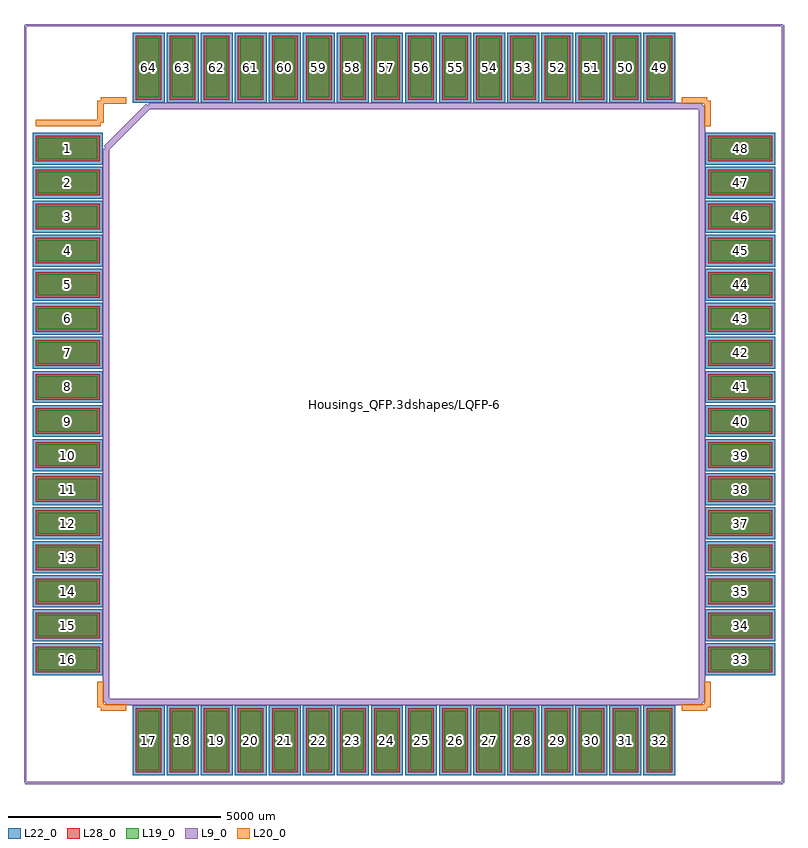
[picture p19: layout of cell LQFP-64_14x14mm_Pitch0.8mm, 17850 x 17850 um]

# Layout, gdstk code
import gdstk
lib = gdstk.Library(unit=1e-6, precision=1e-09)
def R(c, l, rs):  # rectangles x0, y0, x1, y1
    for r in rs: c.add(gdstk.rectangle(r[:2], r[2:], *l))
def A(c, l, x, y, w, h, nx, ny, dx, dy):  # array of equal rectangles
    R(c, l, [(x+i*dx, y+j*dy, x+i*dx+w, y+j*dy+h) for i in range(nx) for j in range(ny)])
L9_0 = (9, 0)
L19_0 = (19, 0)
L20_0 = (20, 0)
L22_0 = (22, 0)
L28_0 = (28, 0)

lqfp_64_14x14mm_pitch0_8 = lib.new_cell('LQFP-64_14x14mm_Pitch0.8mm')
A(lqfp_64_14x14mm_pitch0_8, L19_0, -6250, -8600, 500, 1400, 16, 2, 800, 15800)
A(lqfp_64_14x14mm_pitch0_8, L19_0, -8600, -6250, 1400, 500, 1, 16, 0, 800)
A(lqfp_64_14x14mm_pitch0_8, L19_0, 7200, -6250, 1400, 500, 1, 16, 0, 800)
A(lqfp_64_14x14mm_pitch0_8, L22_0, -6375, -8725, 750, 1650, 16, 2, 800, 15800)
A(lqfp_64_14x14mm_pitch0_8, L22_0, -8725, -6375, 1650, 750, 1, 16, 0, 800)
A(lqfp_64_14x14mm_pitch0_8, L22_0, 7075, -6375, 1650, 750, 1, 16, 0, 800)
A(lqfp_64_14x14mm_pitch0_8, L28_0, -6300, -8650, 600, 1500, 16, 2, 800, 15800)
A(lqfp_64_14x14mm_pitch0_8, L28_0, -8650, -6300, 1500, 600, 1, 16, 0, 800)
A(lqfp_64_14x14mm_pitch0_8, L28_0, 7150, -6300, 1500, 600, 1, 16, 0, 800)
lqfp_64_14x14mm_pitch0_8.add(gdstk.FlexPath([(-7125,6600),(-8650,6600)], 149.998, ends="flush", simple_path=True, layer=20, datatype=0))  # L20_0
lqfp_64_14x14mm_pitch0_8.add(gdstk.FlexPath([(7125,7125),(6525,7125)], 149.998, ends="flush", simple_path=True, layer=20, datatype=0))  # L20_0
lqfp_64_14x14mm_pitch0_8.add(gdstk.FlexPath([(7125,-7125),(6525,-7125)], 149.998, ends="flush", simple_path=True, layer=20, datatype=0))  # L20_0
lqfp_64_14x14mm_pitch0_8.add(gdstk.FlexPath([(-7125,-7125),(-6525,-7125)], 149.998, ends="flush", simple_path=True, layer=20, datatype=0))  # L20_0
lqfp_64_14x14mm_pitch0_8.add(gdstk.FlexPath([(-7125,7125),(-6525,7125)], 149.998, ends="flush", simple_path=True, layer=20, datatype=0))  # L20_0
lqfp_64_14x14mm_pitch0_8.add(gdstk.FlexPath([(-7125,-7125),(-7125,-6525)], 149.998, ends="flush", simple_path=True, layer=20, datatype=0))  # L20_0
lqfp_64_14x14mm_pitch0_8.add(gdstk.FlexPath([(7125,-7125),(7125,-6525)], 149.998, ends="flush", simple_path=True, layer=20, datatype=0))  # L20_0
lqfp_64_14x14mm_pitch0_8.add(gdstk.FlexPath([(7125,7125),(7125,6525)], 149.998, ends="flush", simple_path=True, layer=20, datatype=0))  # L20_0
lqfp_64_14x14mm_pitch0_8.add(gdstk.FlexPath([(-7125,7125),(-7125,6600)], 149.998, ends="flush", simple_path=True, layer=20, datatype=0))  # L20_0
lqfp_64_14x14mm_pitch0_8.add(gdstk.FlexPath([(-8900,-8900),(8900,-8900)], 50, ends="flush", simple_path=True, layer=9, datatype=0))  # L9_0
lqfp_64_14x14mm_pitch0_8.add(gdstk.FlexPath([(-8900,8900),(8900,8900)], 50, ends="flush", simple_path=True, layer=9, datatype=0))  # L9_0
lqfp_64_14x14mm_pitch0_8.add(gdstk.FlexPath([(8900,8900),(8900,-8900)], 50, ends="flush", simple_path=True, layer=9, datatype=0))  # L9_0
lqfp_64_14x14mm_pitch0_8.add(gdstk.FlexPath([(-8900,8900),(-8900,-8900)], 50, ends="flush", simple_path=True, layer=9, datatype=0))  # L9_0
lqfp_64_14x14mm_pitch0_8.add(gdstk.FlexPath([(-7000,6000),(-6000,7000)], 149.998, ends="flush", simple_path=True, layer=9, datatype=0))  # L9_0
lqfp_64_14x14mm_pitch0_8.add(gdstk.FlexPath([(-7000,-7000),(-7000,6000)], 149.998, ends="flush", simple_path=True, layer=9, datatype=0))  # L9_0
lqfp_64_14x14mm_pitch0_8.add(gdstk.FlexPath([(7000,-7000),(-7000,-7000)], 149.998, ends="flush", simple_path=True, layer=9, datatype=0))  # L9_0
lqfp_64_14x14mm_pitch0_8.add(gdstk.FlexPath([(7000,7000),(7000,-7000)], 149.998, ends="flush", simple_path=True, layer=9, datatype=0))  # L9_0
lqfp_64_14x14mm_pitch0_8.add(gdstk.FlexPath([(-6000,7000),(7000,7000)], 149.998, ends="flush", simple_path=True, layer=9, datatype=0))  # L9_0
lqfp_64_14x14mm_pitch0_8.add(gdstk.Label('Housings_QFP.3dshapes/LQFP-64_14x14mm_Pitch0.8mm.wrl', (0,0), layer=12, texttype=0))
lqfp_64_14x14mm_pitch0_8.add(gdstk.Label('64', (-6000,7900), layer=28, texttype=0))
lqfp_64_14x14mm_pitch0_8.add(gdstk.Label('63', (-5200,7900), layer=28, texttype=0))
lqfp_64_14x14mm_pitch0_8.add(gdstk.Label('62', (-4400,7900), layer=28, texttype=0))
lqfp_64_14x14mm_pitch0_8.add(gdstk.Label('61', (-3600,7900), layer=28, texttype=0))
lqfp_64_14x14mm_pitch0_8.add(gdstk.Label('60', (-2800,7900), layer=28, texttype=0))
lqfp_64_14x14mm_pitch0_8.add(gdstk.Label('59', (-2000,7900), layer=28, texttype=0))
lqfp_64_14x14mm_pitch0_8.add(gdstk.Label('58', (-1200,7900), layer=28, texttype=0))
lqfp_64_14x14mm_pitch0_8.add(gdstk.Label('57', (-400,7900), layer=28, texttype=0))
lqfp_64_14x14mm_pitch0_8.add(gdstk.Label('56', (400,7900), layer=28, texttype=0))
lqfp_64_14x14mm_pitch0_8.add(gdstk.Label('55', (1200,7900), layer=28, texttype=0))
lqfp_64_14x14mm_pitch0_8.add(gdstk.Label('54', (2000,7900), layer=28, texttype=0))
lqfp_64_14x14mm_pitch0_8.add(gdstk.Label('53', (2800,7900), layer=28, texttype=0))
lqfp_64_14x14mm_pitch0_8.add(gdstk.Label('52', (3600,7900), layer=28, texttype=0))
lqfp_64_14x14mm_pitch0_8.add(gdstk.Label('51', (4400,7900), layer=28, texttype=0))
lqfp_64_14x14mm_pitch0_8.add(gdstk.Label('50', (5200,7900), layer=28, texttype=0))
lqfp_64_14x14mm_pitch0_8.add(gdstk.Label('49', (6000,7900), layer=28, texttype=0))
lqfp_64_14x14mm_pitch0_8.add(gdstk.Label('48', (7900,6000), layer=28, texttype=0))
lqfp_64_14x14mm_pitch0_8.add(gdstk.Label('47', (7900,5200), layer=28, texttype=0))
lqfp_64_14x14mm_pitch0_8.add(gdstk.Label('46', (7900,4400), layer=28, texttype=0))
lqfp_64_14x14mm_pitch0_8.add(gdstk.Label('45', (7900,3600), layer=28, texttype=0))
lqfp_64_14x14mm_pitch0_8.add(gdstk.Label('44', (7900,2800), layer=28, texttype=0))
lqfp_64_14x14mm_pitch0_8.add(gdstk.Label('43', (7900,2000), layer=28, texttype=0))
lqfp_64_14x14mm_pitch0_8.add(gdstk.Label('42', (7900,1200), layer=28, texttype=0))
lqfp_64_14x14mm_pitch0_8.add(gdstk.Label('41', (7900,400), layer=28, texttype=0))
lqfp_64_14x14mm_pitch0_8.add(gdstk.Label('40', (7900,-400), layer=28, texttype=0))
lqfp_64_14x14mm_pitch0_8.add(gdstk.Label('39', (7900,-1200), layer=28, texttype=0))
lqfp_64_14x14mm_pitch0_8.add(gdstk.Label('38', (7900,-2000), layer=28, texttype=0))
lqfp_64_14x14mm_pitch0_8.add(gdstk.Label('37', (7900,-2800), layer=28, texttype=0))
lqfp_64_14x14mm_pitch0_8.add(gdstk.Label('36', (7900,-3600), layer=28, texttype=0))
lqfp_64_14x14mm_pitch0_8.add(gdstk.Label('35', (7900,-4400), layer=28, texttype=0))
lqfp_64_14x14mm_pitch0_8.add(gdstk.Label('34', (7900,-5200), layer=28, texttype=0))
lqfp_64_14x14mm_pitch0_8.add(gdstk.Label('33', (7900,-6000), layer=28, texttype=0))
lqfp_64_14x14mm_pitch0_8.add(gdstk.Label('32', (6000,-7900), layer=28, texttype=0))
lqfp_64_14x14mm_pitch0_8.add(gdstk.Label('31', (5200,-7900), layer=28, texttype=0))
lqfp_64_14x14mm_pitch0_8.add(gdstk.Label('30', (4400,-7900), layer=28, texttype=0))
lqfp_64_14x14mm_pitch0_8.add(gdstk.Label('29', (3600,-7900), layer=28, texttype=0))
lqfp_64_14x14mm_pitch0_8.add(gdstk.Label('28', (2800,-7900), layer=28, texttype=0))
lqfp_64_14x14mm_pitch0_8.add(gdstk.Label('27', (2000,-7900), layer=28, texttype=0))
lqfp_64_14x14mm_pitch0_8.add(gdstk.Label('26', (1200,-7900), layer=28, texttype=0))
lqfp_64_14x14mm_pitch0_8.add(gdstk.Label('25', (400,-7900), layer=28, texttype=0))
lqfp_64_14x14mm_pitch0_8.add(gdstk.Label('24', (-400,-7900), layer=28, texttype=0))
lqfp_64_14x14mm_pitch0_8.add(gdstk.Label('23', (-1200,-7900), layer=28, texttype=0))
lqfp_64_14x14mm_pitch0_8.add(gdstk.Label('22', (-2000,-7900), layer=28, texttype=0))
lqfp_64_14x14mm_pitch0_8.add(gdstk.Label('21', (-2800,-7900), layer=28, texttype=0))
lqfp_64_14x14mm_pitch0_8.add(gdstk.Label('20', (-3600,-7900), layer=28, texttype=0))
lqfp_64_14x14mm_pitch0_8.add(gdstk.Label('19', (-4400,-7900), layer=28, texttype=0))
lqfp_64_14x14mm_pitch0_8.add(gdstk.Label('18', (-5200,-7900), layer=28, texttype=0))
lqfp_64_14x14mm_pitch0_8.add(gdstk.Label('17', (-6000,-7900), layer=28, texttype=0))
lqfp_64_14x14mm_pitch0_8.add(gdstk.Label('16', (-7900,-6000), layer=28, texttype=0))
lqfp_64_14x14mm_pitch0_8.add(gdstk.Label('15', (-7900,-5200), layer=28, texttype=0))
lqfp_64_14x14mm_pitch0_8.add(gdstk.Label('14', (-7900,-4400), layer=28, texttype=0))
lqfp_64_14x14mm_pitch0_8.add(gdstk.Label('13', (-7900,-3600), layer=28, texttype=0))
lqfp_64_14x14mm_pitch0_8.add(gdstk.Label('12', (-7900,-2800), layer=28, texttype=0))
lqfp_64_14x14mm_pitch0_8.add(gdstk.Label('11', (-7900,-2000), layer=28, texttype=0))
lqfp_64_14x14mm_pitch0_8.add(gdstk.Label('10', (-7900,-1200), layer=28, texttype=0))
lqfp_64_14x14mm_pitch0_8.add(gdstk.Label('9', (-7900,-400), layer=28, texttype=0))
lqfp_64_14x14mm_pitch0_8.add(gdstk.Label('8', (-7900,400), layer=28, texttype=0))
lqfp_64_14x14mm_pitch0_8.add(gdstk.Label('7', (-7900,1200), layer=28, texttype=0))
lqfp_64_14x14mm_pitch0_8.add(gdstk.Label('6', (-7900,2000), layer=28, texttype=0))
lqfp_64_14x14mm_pitch0_8.add(gdstk.Label('5', (-7900,2800), layer=28, texttype=0))
lqfp_64_14x14mm_pitch0_8.add(gdstk.Label('4', (-7900,3600), layer=28, texttype=0))
lqfp_64_14x14mm_pitch0_8.add(gdstk.Label('3', (-7900,4400), layer=28, texttype=0))
lqfp_64_14x14mm_pitch0_8.add(gdstk.Label('2', (-7900,5200), layer=28, texttype=0))
lqfp_64_14x14mm_pitch0_8.add(gdstk.Label('1', (-7900,6000), layer=28, texttype=0))
lqfp_64_14x14mm_pitch0_8.add(gdstk.Label('%R', (0,0), layer=9, texttype=0))
lqfp_64_14x14mm_pitch0_8.add(gdstk.Label('type', (0,-9650), layer=9, texttype=0))
lqfp_64_14x14mm_pitch0_8.add(gdstk.Label('devicename', (0,9650), layer=9, texttype=0))

lib.write_gds('LQFP-64_14x14mm_Pitch0.8mm.gds')
